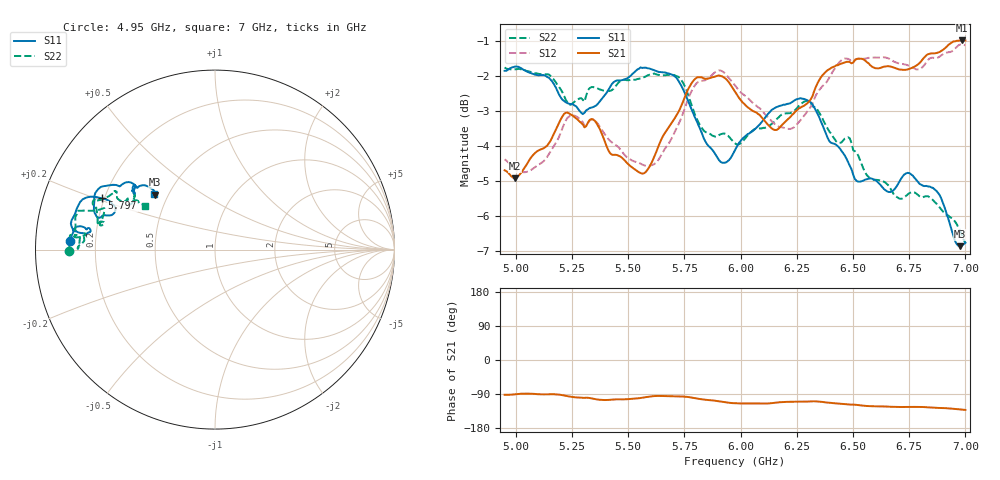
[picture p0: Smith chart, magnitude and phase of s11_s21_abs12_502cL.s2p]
! MS46122B
! 1919307/90821646
! 5/18/2022 3:42:30 PM
! C:\USERS\PC_\DESKTOP\CARACTERIZACION\MEDICIONES\BANDA ANCHA\S11_S21_ABS12_502CL.S2P
! CHANNEL.1
! TR.MEASUREMENT
! CORRECTED.DATA
# GHZ S RI R 50.0
! FREQ.GHZ  S11RE  S11IM  S21RE  S21IM  S12RE  S12IM  S22RE  S22IM
!; PortSelection: Port_12
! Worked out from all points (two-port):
!   272 points, 4.95 GHz to 7 GHz, reference 50 ohm
!   highest |S21| = -0.99 dB at 6.985 GHz (marker M1); lowest = -4.9 dB at 4.995 GHz (marker M2)
!   |S21| within 3 dB of the highest: 5.14 GHz to 5.403 GHz (262.7 MHz wide, 4.98 % of centre); 5.636 GHz to end of sweep
!   lowest |S11| = -6.9 dB at 6.977 GHz (marker M3), VSWR 2.66, Z = 21.2 + j16.3 ohm
!   |S11| at or under -10 dB: nowhere
!   |S22| runs from -6.8 to -1.8 dB; largest |S21 - S12| = 0.043
!   S11 on the Smith chart (normalised r, x): 4.95 GHz: 0.11, +0.03; 5.797 GHz: 0.19, +0.21; 7 GHz: 0.42, +0.33
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4.95  -0.8059 0.0452  -0.0175 -0.5817  -0.0219 -0.6029  -0.8158 -0.00781
4.995387  -0.8164 0.0568  -0.00633 -0.567  -0.0171 -0.5846  -0.8088 0.061
5.169373  -0.7618 0.1288  -0.00416 -0.6559  -0.0198 -0.6306  -0.7808 0.0699
5.29797  -0.6924 0.1038  -0.1163 -0.6666  -0.0915 -0.6756  -0.7301 0.0727
5.350923  -0.7127 0.0896  -0.1536 -0.6676  -0.1204 -0.675  -0.764 0.00417
5.464391  -0.7751 0.1041  -0.1464 -0.5912  -0.1744 -0.5986  -0.776 0.0808
5.562731  -0.8006 0.1521  -0.0952 -0.5676  -0.1117 -0.5823  -0.7771 0.133
5.638376  -0.7773 0.2055  -0.0531 -0.6321  -0.0644 -0.6018  -0.7729 0.1922
5.729151  -0.7199 0.2884  -0.0745 -0.7071  -0.0762 -0.6788  -0.7578 0.2162
5.797232  -0.63 0.2861  -0.1485 -0.7717  -0.1341 -0.7583  -0.6631 0.2184
5.857749  -0.575 0.2577  -0.2125 -0.7581  -0.1802 -0.7679  -0.6164 0.228
5.910701  -0.5539 0.2262  -0.2658 -0.748  -0.2386 -0.7719  -0.6364 0.1559
5.978782  -0.5961 0.1899  -0.3087 -0.6837  -0.3023 -0.7044  -0.6178 0.1455
6.145203  -0.6746 0.2277  -0.2637 -0.6112  -0.2842 -0.6182  -0.6555 0.1847
6.319188  -0.6323 0.3508  -0.2413 -0.7015  -0.2426 -0.6817  -0.6637 0.2742
6.440221  -0.5039 0.3715  -0.3534 -0.7452  -0.3203 -0.7668  -0.5487 0.3234
6.500738  -0.4465 0.3601  -0.3853 -0.7343  -0.3681 -0.745  -0.5415 0.3051
6.659594  -0.4463 0.3073  -0.4488 -0.6856  -0.4719 -0.6957  -0.486 0.2636
6.856273  -0.4187 0.3552  -0.5024 -0.6916  -0.5075 -0.6726  -0.4509 0.2738
6.977306  -0.3344 0.3063  -0.5799 -0.6776  -0.5617 -0.6776  -0.4044 0.2518
6.984871  -0.3361 0.3058  -0.5844 -0.6738  -0.5659 -0.6733  -0.3982 0.2492
7  -0.3388 0.309  -0.5937 -0.6656  -0.5712 -0.6665  -0.3887 0.2417
